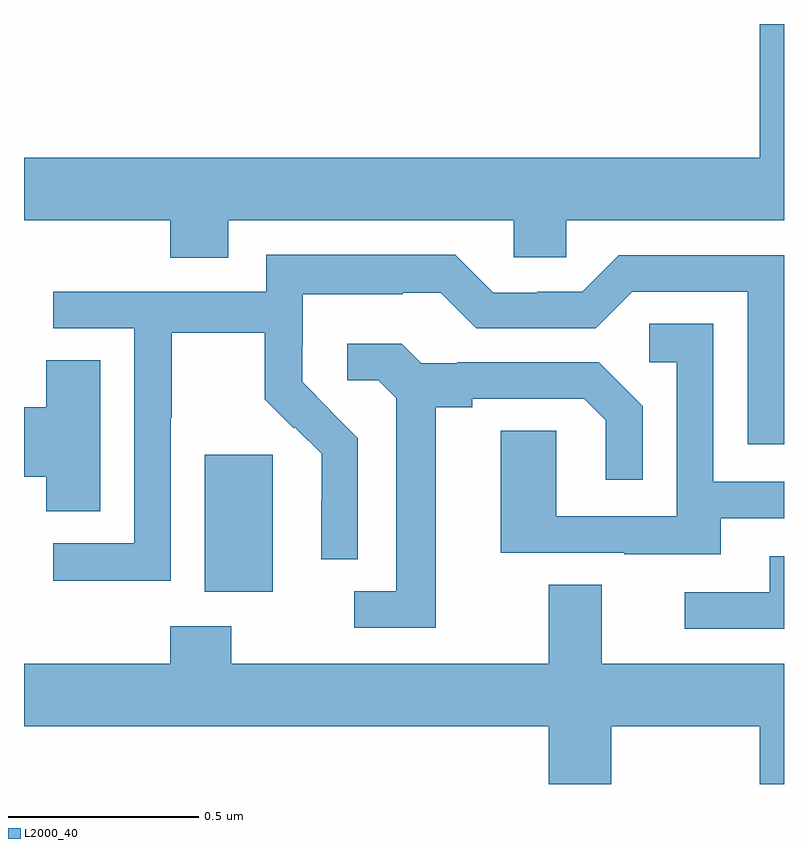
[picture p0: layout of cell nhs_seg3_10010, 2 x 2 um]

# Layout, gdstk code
import gdstk
lib = gdstk.Library(unit=1e-6, precision=1e-09)
def R(c, l, rs):  # rectangles x0, y0, x1, y1
    for r in rs: c.add(gdstk.rectangle(r[:2], r[2:], *l))
def P(c, l, *ps):  # polygons
    for p in ps: c.add(gdstk.Polygon(p, *l))
L2000_40 = (2000, 40)

nhs_seg3_10010 = lib.new_cell('nhs_seg3_10010')
R(nhs_seg3_10010, L2000_40, [(235.475,731.906,235.654,732.267)])
P(nhs_seg3_10010, L2000_40, [(235.537,732.884),(236.289,732.884),(236.289,732.786),(236.427,732.786),(236.427,732.884),(237,732.884),(237,733.4),(236.936,733.4),(236.936,733.048),(235,733.048),(235,732.884),(235.385,732.884),(235.385,732.785),(235.537,732.785)],
  [(235.386,732.364),(235.389,732.364),(235.389,732.588),(235.633,732.588),(235.633,732.413),(235.71,732.336),(235.713,732.339),(235.784,732.269),(235.784,732.146),(235.782,732.146),(235.782,731.992),(235.878,731.992),(235.878,732.31),(235.805,732.383),(235.806,732.384),(235.732,732.458),(235.732,732.555),(235.734,732.555),(235.734,732.689),(235.997,732.689),(235.997,732.693),(236.097,732.693),(236.19,732.6),(236.505,732.6),(236.601,732.696),(236.904,732.696),(236.904,732.294),(237,732.294),(237,732.792),(236.565,732.792),(236.469,732.696),(236.351,732.696),(236.351,732.693),(236.235,732.693),(236.135,732.793),(235.638,732.793),(235.638,732.696),(235.077,732.696),(235.077,732.6),(235.29,732.6),(235.29,732.033),(235.077,732.033),(235.077,731.935),(235.386,731.935)],
  [(236.833,732.099),(237,732.099),(237,732.195),(236.814,732.195),(236.814,732.611),(236.646,732.611),(236.646,732.51),(236.718,732.51),(236.718,732.105),(236.4,732.105),(236.4,732.329),(236.255,732.329),(236.255,732.009),(236.579,732.009),(236.579,732.005),(236.833,732.005)],
  [(236.083,732.392),(236.179,732.392),(236.179,732.414),(236.474,732.414),(236.531,732.357),(236.531,732.201),(236.628,732.201),(236.628,732.394),(236.512,732.51),(236.14,732.51),(236.14,732.507),(236.046,732.507),(235.994,732.559),(235.851,732.559),(235.851,732.462),(235.932,732.462),(235.979,732.415),(235.979,731.907),(235.869,731.907),(235.869,731.811),(236.083,731.811)],
  [(235.201,732.515),(235.058,732.515),(235.058,732.392),(235,732.392),(235,732.209),(235.058,732.209),(235.058,732.118),(235.201,732.118)],
  [(237,732),(236.963,732),(236.963,731.904),(236.739,731.904),(236.739,731.808),(237,731.808)],
  [(236.545,731.552),(236.936,731.552),(236.936,731.4),(237,731.4),(237,731.716),(236.521,731.716),(236.521,731.924),(236.381,731.924),(236.381,731.716),(235.545,731.716),(235.545,731.815),(235.385,731.815),(235.385,731.716),(235,731.716),(235,731.552),(236.381,731.552),(236.381,731.4),(236.545,731.4)])

lib.write_gds('nhs_seg3_10010.gds')
